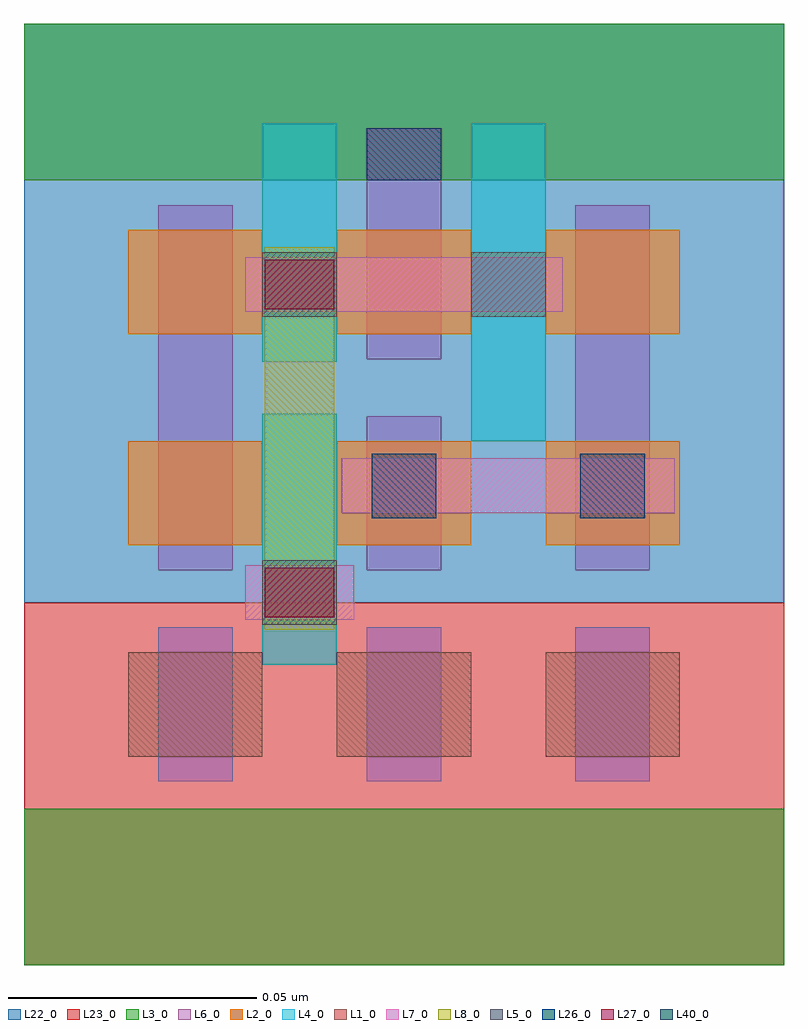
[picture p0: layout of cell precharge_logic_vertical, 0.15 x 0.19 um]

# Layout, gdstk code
import gdstk
lib = gdstk.Library(unit=1e-6, precision=2.5e-10)
def R(c, l, rs):  # rectangles x0, y0, x1, y1
    for r in rs: c.add(gdstk.rectangle(r[:2], r[2:], *l))
def A(c, l, x, y, w, h, nx, ny, dx, dy):  # array of equal rectangles
    R(c, l, [(x+i*dx, y+j*dy, x+i*dx+w, y+j*dy+h) for i in range(nx) for j in range(ny)])
L1_0 = (1, 0)
L2_0 = (2, 0)
L3_0 = (3, 0)
L4_0 = (4, 0)
L5_0 = (5, 0)
L6_0 = (6, 0)
L7_0 = (7, 0)
L8_0 = (8, 0)
L22_0 = (22, 0)
L23_0 = (23, 0)
L26_0 = (26, 0)
L27_0 = (27, 0)
L40_0 = (40, 0)

precharge_logic_vertical = lib.new_cell('precharge_logic_vertical')
A(precharge_logic_vertical, L1_0, 0.021, 0.042, 0.027, 0.021, 3, 1, 0.042, 0)
A(precharge_logic_vertical, L2_0, 0.021, 0.0845, 0.027, 0.021, 3, 2, 0.042, 0.0425)
R(precharge_logic_vertical, L3_0, [(0,0,0.153,0.0315), (0,0.158,0.153,0.1895)])
R(precharge_logic_vertical, L4_0, [(0.048,0.0605,0.063,0.111), (0.09,0.1055,0.105,0.1695), (0.048,0.1215,0.063,0.1695)])
R(precharge_logic_vertical, L5_0, [(0.048,0.0685,0.063,0.0815), (0.048,0.1305,0.063,0.1435), (0.09,0.1305,0.105,0.1435)])
A(precharge_logic_vertical, L6_0, 0.027, 0.037, 0.015, 0.031, 3, 1, 0.042, 0)
R(precharge_logic_vertical, L6_0, [(0.027,0.0795,0.042,0.153), (0.069,0.0795,0.084,0.1105), (0.111,0.0795,0.126,0.153), (0.069,0.122,0.084,0.1685)])
R(precharge_logic_vertical, L7_0, [(0.0445,0.0695,0.0665,0.0805), (0.064,0.091,0.131,0.102), (0.0445,0.1315,0.1085,0.1425)])
R(precharge_logic_vertical, L8_0, [(0.0485,0.0675,0.0625,0.1445)])
R(precharge_logic_vertical, L22_0, [(0,0.073,0.153,0.1895)])
R(precharge_logic_vertical, L23_0, [(0,0,0.153,0.073)])
R(precharge_logic_vertical, L26_0, [(0.07,0.09,0.083,0.103), (0.112,0.09,0.125,0.103)])
R(precharge_logic_vertical, L27_0, [(0.0485,0.07,0.0625,0.08), (0.0485,0.132,0.0625,0.142)])
R(precharge_logic_vertical, L40_0, [(0.069,0.158,0.084,0.1685)])

lib.write_gds('precharge_logic_vertical.gds')
